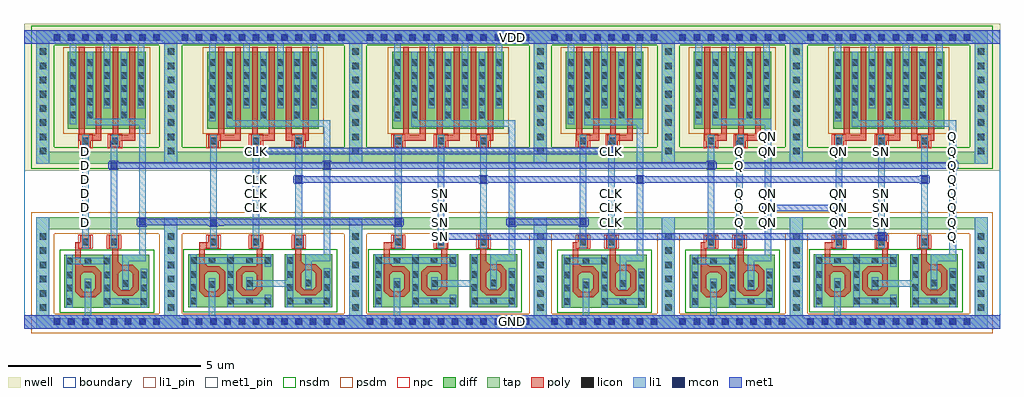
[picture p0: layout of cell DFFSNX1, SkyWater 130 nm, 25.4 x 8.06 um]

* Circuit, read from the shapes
.subckt DFFSNX1 CLK D GND Q QN SN VDD
XM1 n1 D GND GND sky130_fd_pr__nfet_01v8 w=2.6 l=0.146
XM2 n1 n2 n3 GND sky130_fd_pr__nfet_01v8 w=2.56 l=0.1472
XM3 n4 n3 GND GND sky130_fd_pr__nfet_01v8 w=2.6 l=0.1484
XM4 n4 CLK n5 GND sky130_fd_pr__nfet_01v8 w=2.52 l=0.1457
XM5 n5 n6 n2 GND sky130_fd_pr__nfet_01v8 w=2.56 l=0.1459
XM6 n7 n3 GND GND sky130_fd_pr__nfet_01v8 w=2.6 l=0.1489
XM7 n7 SN n8 GND sky130_fd_pr__nfet_01v8 w=2.52 l=0.1457
XM8 n8 n6 n9 GND sky130_fd_pr__nfet_01v8 w=2.56 l=0.1461
XM9 n10 n9 GND GND sky130_fd_pr__nfet_01v8 w=2.6 l=0.146
XM10 n10 CLK n6 GND sky130_fd_pr__nfet_01v8 w=2.56 l=0.1471
XM11 n11 n2 GND GND sky130_fd_pr__nfet_01v8 w=2.6 l=0.146
XM12 n11 Q QN GND sky130_fd_pr__nfet_01v8 w=2.56 l=0.1473
XM13 n12 QN GND GND sky130_fd_pr__nfet_01v8 w=2.6 l=0.1492
XM14 n12 SN n13 GND sky130_fd_pr__nfet_01v8 w=2.52 l=0.1455
XM15 n13 n6 Q GND sky130_fd_pr__nfet_01v8 w=2.56 l=0.1456
XM16 n3 D VDD VDD sky130_fd_pr__pfet_01v8 w=2 l=0.15 m=2
XM17 n3 n2 VDD VDD sky130_fd_pr__pfet_01v8 w=2 l=0.15 m=2
XM18 n2 n3 VDD VDD sky130_fd_pr__pfet_01v8 w=2 l=0.15 m=2
XM19 n2 CLK VDD VDD sky130_fd_pr__pfet_01v8 w=2 l=0.15 m=2
XM20 n2 n6 VDD VDD sky130_fd_pr__pfet_01v8 w=2 l=0.15 m=2
XM21 n9 n3 VDD VDD sky130_fd_pr__pfet_01v8 w=2 l=0.15 m=2
XM22 n9 SN VDD VDD sky130_fd_pr__pfet_01v8 w=2 l=0.15 m=2
XM23 n9 n6 VDD VDD sky130_fd_pr__pfet_01v8 w=2 l=0.15 m=2
XM24 n6 n9 VDD VDD sky130_fd_pr__pfet_01v8 w=2 l=0.15 m=2
XM25 n6 CLK VDD VDD sky130_fd_pr__pfet_01v8 w=2 l=0.15 m=2
XM26 QN n2 VDD VDD sky130_fd_pr__pfet_01v8 w=2 l=0.15 m=2
XM27 QN Q VDD VDD sky130_fd_pr__pfet_01v8 w=2 l=0.15 m=2
XM28 Q QN VDD VDD sky130_fd_pr__pfet_01v8 w=2 l=0.15 m=2
XM29 Q SN VDD VDD sky130_fd_pr__pfet_01v8 w=2 l=0.15 m=2
XM30 Q n6 VDD VDD sky130_fd_pr__pfet_01v8 w=2 l=0.15 m=2
.ends

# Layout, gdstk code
from math import pi, radians
import gdstk
lib = gdstk.Library(unit=1e-6, precision=1e-09)
def R(c, l, rs):  # rectangles x0, y0, x1, y1
    for r in rs: c.add(gdstk.rectangle(r[:2], r[2:], *l))
def A(c, l, x, y, w, h, nx, ny, dx, dy):  # array of equal rectangles
    R(c, l, [(x+i*dx, y+j*dy, x+i*dx+w, y+j*dy+h) for i in range(nx) for j in range(ny)])
def P(c, l, *ps):  # polygons
    for p in ps: c.add(gdstk.Polygon(p, *l))
nwell = (64, 20)
diff = (65, 20)
tap = (65, 44)
poly = (66, 20)
licon = (66, 44)
li1_pin = (67, 16)
li1 = (67, 20)
mcon = (67, 44)
met1_pin = (68, 16)
met1 = (68, 20)
nsdm = (93, 44)
psdm = (94, 20)
npc = (95, 20)
boundary = (235, 4)

li1_m1_contact = lib.new_cell('li1_M1_contact')
R(li1_m1_contact, li1, [(-0.085,-0.165,0.085,0.165)])
R(li1_m1_contact, mcon, [(-0.085,-0.085,0.085,0.085)])
R(li1_m1_contact, met1, [(-0.115,-0.115,0.115,-0.085), (-0.265,-0.085,0.145,0.085), (-0.115,0.085,0.115,0.115)])

diff_ring_side = lib.new_cell('diff_ring_side')
R(diff_ring_side, nwell, [(-0.435,3.93,0.435,7.75)])
R(diff_ring_side, tap, [(-0.17,-0.17,0.17,2.72), (-0.17,4.11,0.17,7.57)])
A(diff_ring_side, licon, -0.085, 0.285, 0.17, 0.17, 1, 6, 0, 0.37)
A(diff_ring_side, licon, -0.085, 4.355, 0.17, 0.17, 1, 8, 0, 0.37)
R(diff_ring_side, li1, [(-0.17,-0.17,0.17,2.72), (-0.17,4.11,0.17,7.57)])
R(diff_ring_side, met1, [(-0.17,-0.17,0.17,0.17), (-0.17,7.23,0.17,7.57)])
R(diff_ring_side, nsdm, [(-0.295,3.985,0.295,7.695)])
R(diff_ring_side, psdm, [(-0.295,-0.295,0.295,2.845)])

nmos_bottom = lib.new_cell('nmos_bottom')
R(nmos_bottom, diff, [(0,0,1.24,1.38)])
R(nmos_bottom, poly, [(0.43,0.27,0.81,0.42), (0.28,0.42,0.43,0.925), (0.81,0.42,0.96,0.925), (0.43,0.925,0.96,1.075), (0.81,1.075,0.96,1.51)])
P(nmos_bottom, poly, [(0.73,1.075),(0.81,1.075),(0.81,1.155)],
  [(0.28,0.925),(0.43,0.925),(0.43,1.075)],
  [(0.43,0.845),(0.43,0.925),(0.51,0.925)],
  [(0.73,0.925),(0.81,0.925),(0.81,0.845)],
  [(0.43,0.5),(0.43,0.42),(0.51,0.42)],
  [(0.73,0.42),(0.81,0.42),(0.81,0.5)],
  [(0.28,0.42),(0.43,0.42),(0.43,0.27)],
  [(0.81,0.27),(0.81,0.42),(0.96,0.42)])
A(nmos_bottom, licon, 0.05, 1.13, 0.17, 0.17, 3, 1, 0.485, 0)
R(nmos_bottom, licon, [(0.05,0.08,0.22,0.25), (1.02,0.08,1.19,0.25), (0.05,0.43,0.22,0.6), (1.02,0.43,1.19,0.6), (0.535,0.505,0.705,0.675), (0.05,0.77,0.22,0.94), (1.02,0.77,1.19,0.94)])
R(nmos_bottom, li1, [(0.05,0,0.22,1.13), (1.02,0,1.19,1.13), (0.535,0.425,0.705,0.755), (0.05,1.13,1.19,1.3), (0.05,1.3,0.22,1.38), (1.02,1.3,1.19,1.38)])
R(nmos_bottom, nsdm, [(-0.125,-0.125,1.365,1.505)])

pmos2 = lib.new_cell('pmos2')
R(pmos2, nwell, [(0.26,-2.18,1.76,0.18)])
R(pmos2, diff, [(0.44,-2,1.58,0)])
R(pmos2, poly, [(0.72,-2.305,1.31,-2.155), (0.72,-2.155,0.87,0.13), (1.16,-2.155,1.31,0.13)])
A(pmos2, licon, 0.49, -1.38, 0.17, 0.17, 3, 4, 0.44, 0.34)
R(pmos2, li1, [(0.49,-1.465,0.66,0.21), (0.93,-1.465,1.1,0), (1.37,-1.465,1.54,0.21)])
R(pmos2, psdm, [(0.315,-2.125,1.705,0.125)])

poly_li1_contact = lib.new_cell('poly_li1_contact')
R(poly_li1_contact, poly, [(-0.16,-0.14,0.17,0.13)])
R(poly_li1_contact, licon, [(-0.08,-0.09,0.09,0.08)])
R(poly_li1_contact, li1, [(-0.16,-0.09,0.17,0.08)])
R(poly_li1_contact, npc, [(-0.18,-0.19,0.19,0.18)])

nmos_top_trim1 = lib.new_cell('nmos_top_trim1')
R(nmos_top_trim1, diff, [(0,0,1.24,1.38)])
R(nmos_top_trim1, poly, [(0.43,0.31,0.81,0.46), (0.28,0.46,0.43,0.965), (0.81,0.46,0.96,0.965), (0.43,0.965,0.96,1.115), (0.81,1.115,0.96,1.545)])
P(nmos_top_trim1, poly, [(0.73,1.115),(0.81,1.115),(0.81,1.195)],
  [(0.28,0.965),(0.43,0.965),(0.43,1.115)],
  [(0.43,0.885),(0.43,0.965),(0.51,0.965)],
  [(0.73,0.965),(0.81,0.965),(0.81,0.885)],
  [(0.43,0.54),(0.43,0.46),(0.51,0.46)],
  [(0.73,0.46),(0.81,0.46),(0.81,0.54)],
  [(0.28,0.46),(0.43,0.46),(0.43,0.31)],
  [(0.81,0.31),(0.81,0.46),(0.96,0.46)])
A(nmos_top_trim1, licon, 0.05, 0.08, 0.17, 0.17, 3, 1, 0.485, 0)
R(nmos_top_trim1, licon, [(0.05,0.43,0.22,0.6), (1.02,0.43,1.19,0.6), (0.535,0.55,0.705,0.72), (0.05,0.77,0.22,0.94), (1.02,0.77,1.19,0.94), (1.02,1.13,1.19,1.3)])
R(nmos_top_trim1, li1, [(0.05,0,0.22,0.08), (1.02,0,1.19,0.08), (0.05,0.08,1.19,0.25), (0.05,0.25,0.22,1.02), (1.02,0.25,1.19,1.38), (0.535,0.47,0.705,0.805)])
R(nmos_top_trim1, nsdm, [(-0.125,-0.125,1.365,1.505)])

nand2x1_pcell = lib.new_cell('nand2x1_pcell')
R(nand2x1_pcell, nwell, [(0.435,3.93,2.895,7.75)])
R(nand2x1_pcell, diff, [(0.705,5.295,0.875,5.465), (1.145,5.295,1.315,5.465), (2.025,5.295,2.195,5.465)])
R(nand2x1_pcell, tap, [(0.17,-0.17,3.16,-0.15), (0.155,-0.15,3.175,0.085), (0.155,2.4,0.17,2.41), (3.16,2.4,3.175,2.41), (0.155,2.41,3.175,2.71), (0.17,2.71,3.16,2.72), (0.17,4.11,3.16,4.42), (0.17,7.315,3.16,7.57)])
R(nand2x1_pcell, poly, [(0.84,1.875,0.99,2.065), (1.81,1.91,1.96,1.915)])
A(nand2x1_pcell, licon, 0.285, -0.085, 0.17, 0.17, 8, 2, 0.37, 7.4)
R(nand2x1_pcell, licon, [(0.705,5.295,0.875,5.465), (1.145,5.295,1.315,5.465), (2.025,5.295,2.195,5.465)])
R(nand2x1_pcell, li1, [(0.17,-0.17,3.16,-0.15), (0.155,-0.15,3.175,0.16), (0.17,0.16,3.16,0.17), (1.095,0.17,1.265,0.835), (2.065,1.165,2.235,1.57), (2.065,1.57,2.675,1.74), (2.505,1.74,2.675,5.115), (1.025,2.165,1.195,4.54), (1.765,2.165,1.785,2.205), (1.765,2.205,1.935,4.54), (1.765,4.54,1.805,4.71), (1.145,5.115,2.675,5.285), (0.705,5.135,0.875,5.555), (1.145,5.285,1.315,5.555), (2.025,5.285,2.195,5.555), (0.17,7.23,3.16,7.57)])
A(nand2x1_pcell, mcon, 0.285, -0.085, 0.17, 0.17, 8, 2, 0.37, 7.4)
R(nand2x1_pcell, met1, [(0.17,-0.17,3.16,-0.15), (0.155,-0.15,3.175,0.16), (0.17,0.16,3.16,0.17), (0.17,7.23,3.16,7.57)])
R(nand2x1_pcell, nsdm, [(0.045,3.985,3.285,4.545), (0.045,7.19,3.285,7.695)])
R(nand2x1_pcell, psdm, [(0.045,-0.295,3.285,-0.275), (0.03,-0.275,3.3,0.21), (0.03,2.275,0.295,2.285), (3.035,2.275,3.3,2.285), (0.03,2.285,3.3,2.835), (0.045,2.835,3.285,2.845), (0.58,5.17,1.44,5.59), (1.9,5.17,2.32,5.59)])
nand2x1_pcell.add(gdstk.Reference(diff_ring_side, (0,0)))
nand2x1_pcell.add(gdstk.Reference(nmos_bottom, (1.8,0.365), rotation=pi, x_reflection=True))
nand2x1_pcell.add(gdstk.Reference(pmos2, (0.215,7.02)))
nand2x1_pcell.add(gdstk.Reference(poly_li1_contact, (1.115,4.705), rotation=3*pi/2))
nand2x1_pcell.add(gdstk.Reference(poly_li1_contact, (1.115,2.085), rotation=3*pi/2))
nand2x1_pcell.add(gdstk.Reference(nmos_top_trim1, (2.77,0.365), rotation=pi, x_reflection=True))
nand2x1_pcell.add(gdstk.Reference(pmos2, (1.095,7.02)))
nand2x1_pcell.add(gdstk.Reference(poly_li1_contact, (1.845,2.075), rotation=pi/2))
nand2x1_pcell.add(gdstk.Reference(poly_li1_contact, (1.885,4.705), rotation=3*pi/2))
nand2x1_pcell.add(gdstk.Reference(diff_ring_side, (3.33,0)))

nmos_side_left = lib.new_cell('nmos_side_left')
R(nmos_side_left, diff, [(0,0,1.24,1.38)])
R(nmos_side_left, poly, [(0.435,0.305,0.81,0.455), (0.285,0.455,0.435,0.925), (0.81,0.455,0.96,0.925), (0.435,0.925,0.96,1.075), (0.81,1.075,0.96,1.51)])
P(nmos_side_left, poly, [(0.285,0.925),(0.435,0.925),(0.435,1.075)],
  [(0.435,0.845),(0.435,0.925),(0.515,0.925)],
  [(0.73,0.925),(0.81,0.925),(0.81,0.845)],
  [(0.435,0.535),(0.435,0.455),(0.515,0.455)],
  [(0.73,0.455),(0.81,0.455),(0.81,0.535)],
  [(0.285,0.455),(0.435,0.455),(0.435,0.305)],
  [(0.81,0.305),(0.81,0.455),(0.96,0.455)])
A(nmos_side_left, licon, 0.05, 0.08, 0.17, 0.17, 3, 2, 0.485, 1.05)
R(nmos_side_left, licon, [(0.05,0.43,0.22,0.6), (0.54,0.535,0.71,0.705), (0.05,0.77,0.22,0.94)])
R(nmos_side_left, li1, [(0.05,0,0.22,0.08), (1.02,0,1.19,0.08), (0.05,0.08,1.19,0.25), (0.05,0.25,0.22,1.13), (1.02,0.25,1.19,0.33), (0.54,0.455,0.71,0.785), (1.02,1.05,1.19,1.13), (0.05,1.13,1.19,1.3), (0.05,1.3,0.22,1.38), (1.02,1.3,1.19,1.38)])
R(nmos_side_left, nsdm, [(-0.125,-0.125,1.365,1.505)])

nand3x1_pcell = lib.new_cell('nand3x1_pcell')
R(nand3x1_pcell, nwell, [(0.435,3.93,4.375,5.28), (0.435,5.28,1.1,5.295), (1.395,5.28,4.375,5.495), (0.435,5.295,1.025,5.465), (1.145,5.295,1.315,5.465), (0.435,5.465,1.1,5.495), (0.435,5.495,4.375,7.75)])
A(nand3x1_pcell, diff, 1.445, 5.295, 0.17, 0.17, 3, 1, 0.88, 0)
R(nand3x1_pcell, diff, [(1.005,5.295,1.175,5.465)])
R(nand3x1_pcell, tap, [(0.17,-0.17,4.64,0.085), (0.17,2.41,4.64,2.72), (0.17,4.11,4.64,4.42), (0.17,7.315,4.64,7.57)])
R(nand3x1_pcell, poly, [(0.735,1.885,0.885,1.915), (2.235,1.885,2.385,1.915), (0.735,1.915,0.975,2.065), (2.355,1.915,2.385,2.065)])
A(nand3x1_pcell, licon, 0.285, -0.085, 0.17, 0.17, 12, 2, 0.37, 7.4)
A(nand3x1_pcell, licon, 1.445, 5.295, 0.17, 0.17, 3, 1, 0.88, 0)
R(nand3x1_pcell, licon, [(1.005,5.295,1.175,5.465)])
A(nand3x1_pcell, li1, 1.445, 5.24, 0.17, 0.315, 3, 1, 0.88, 0)
R(nand3x1_pcell, li1, [(0.17,-0.17,4.64,0.17), (0.99,0.17,1.16,0.835), (1.965,0.91,3.015,1.08), (3.5,1.175,3.67,1.58), (3.5,1.58,4.155,1.75), (3.985,1.75,4.155,5.07), (1.025,2.165,1.195,4.54), (2.135,2.165,2.305,4.54), (3.245,2.245,3.415,4.7), (1.445,5.07,4.155,5.24), (1.005,5.215,1.175,5.58), (0.17,7.23,4.64,7.57)])
A(nand3x1_pcell, mcon, 0.285, -0.085, 0.17, 0.17, 12, 2, 0.37, 7.4)
R(nand3x1_pcell, met1, [(0.17,-0.17,4.64,0.17), (0.17,7.23,4.64,7.57)])
R(nand3x1_pcell, nsdm, [(2.79,0.25,2.84,1.88), (0.045,3.985,4.765,4.545), (0.045,7.19,4.765,7.695)])
R(nand3x1_pcell, psdm, [(0.045,-0.295,4.765,0.21), (0.045,2.285,4.765,2.845), (0.88,5.17,1.74,5.59), (2.2,5.17,2.62,5.59), (3.08,5.17,3.5,5.59)])
nand3x1_pcell.add(gdstk.Reference(diff_ring_side, (0,0)))
nand3x1_pcell.add(gdstk.Reference(nmos_bottom, (1.695,0.375), rotation=pi, x_reflection=True))
nand3x1_pcell.add(gdstk.Reference(pmos2, (0.515,7.02)))
nand3x1_pcell.add(gdstk.Reference(poly_li1_contact, (1.115,4.705), rotation=3*pi/2))
nand3x1_pcell.add(gdstk.Reference(poly_li1_contact, (1.105,2.075), rotation=pi/2))
nand3x1_pcell.add(gdstk.Reference(nmos_side_left, (1.425,0.375)))
nand3x1_pcell.add(gdstk.Reference(pmos2, (1.395,7.02)))
nand3x1_pcell.add(gdstk.Reference(pmos2, (2.275,7.02)))
nand3x1_pcell.add(gdstk.Reference(poly_li1_contact, (2.215,2.075), rotation=pi/2))
nand3x1_pcell.add(gdstk.Reference(poly_li1_contact, (2.215,4.695), rotation=pi/2))
nand3x1_pcell.add(gdstk.Reference(nmos_top_trim1, (4.205,0.375), rotation=pi, x_reflection=True))
nand3x1_pcell.add(gdstk.Reference(poly_li1_contact, (3.325,2.075), rotation=pi/2))
nand3x1_pcell.add(gdstk.Reference(poly_li1_contact, (3.335,4.705), rotation=3*pi/2))
nand3x1_pcell.add(gdstk.Reference(diff_ring_side, (4.81,0)))

dffsnx1_pcell = lib.new_cell('dffsnx1_pcell')
R(dffsnx1_pcell, met1, [(10.275,2.135,21.905,2.305), (2.685,2.505,9.11,2.675), (12.305,2.505,13.855,2.675), (6.755,3.615,23.02,3.785), (2.03,3.985,17.43,4.155), (5.465,4.355,14.76,4.525)])
dffsnx1_pcell.add(gdstk.Reference(li1_m1_contact, (1.85,4.07), rotation=pi))
dffsnx1_pcell.add(gdstk.Reference(li1_m1_contact, (2.59,2.59), rotation=pi))
dffsnx1_pcell.add(gdstk.Reference(li1_m1_contact, (4.44,2.585), rotation=pi))
dffsnx1_pcell.add(gdstk.Reference(nand2x1_pcell, (0,0)))
dffsnx1_pcell.add(gdstk.Reference(nand3x1_pcell, (3.33,0)))
dffsnx1_pcell.add(gdstk.Reference(li1_m1_contact, (6.66,3.7), rotation=pi))
dffsnx1_pcell.add(gdstk.Reference(li1_m1_contact, (5.55,4.44), rotation=pi))
dffsnx1_pcell.add(gdstk.Reference(li1_m1_contact, (10.36,2.22), rotation=pi))
dffsnx1_pcell.add(gdstk.Reference(li1_m1_contact, (9.25,2.59)))
dffsnx1_pcell.add(gdstk.Reference(li1_m1_contact, (7.395,4.07), rotation=pi))
dffsnx1_pcell.add(gdstk.Reference(nand3x1_pcell, (8.14,0)))
dffsnx1_pcell.add(gdstk.Reference(li1_m1_contact, (14.8,4.44)))
dffsnx1_pcell.add(gdstk.Reference(li1_m1_contact, (15.54,3.7)))
dffsnx1_pcell.add(gdstk.Reference(li1_m1_contact, (11.47,3.7)))
dffsnx1_pcell.add(gdstk.Reference(li1_m1_contact, (12.21,2.59), rotation=pi))
dffsnx1_pcell.add(gdstk.Reference(li1_m1_contact, (14.06,2.59)))
dffsnx1_pcell.add(gdstk.Reference(nand2x1_pcell, (12.95,0)))
dffsnx1_pcell.add(gdstk.Reference(nand2x1_pcell, (16.28,0)))
dffsnx1_pcell.add(gdstk.Reference(li1_m1_contact, (21.83,2.22)))
dffsnx1_pcell.add(gdstk.Reference(li1_m1_contact, (17.39,4.07)))
dffsnx1_pcell.add(gdstk.Reference(nand3x1_pcell, (19.61,0)))
dffsnx1_pcell.add(gdstk.Reference(li1_m1_contact, (22.94,3.7)))

dffsnx1 = lib.new_cell('DFFSNX1')
R(dffsnx1, nwell, [(0,4.11,25.4,7.94)])
R(dffsnx1, tap, [(0.32,0,25.08,0.035), (0.32,7.75,25.08,7.76)])
A(dffsnx1, li1_pin, 10.765, 2.315, 0.17, 0.17, 1, 4, 0, 0.37)
A(dffsnx1, li1_pin, 24.085, 2.315, 0.17, 0.17, 1, 8, 0, 0.37)
A(dffsnx1, li1_pin, 1.515, 2.685, 0.17, 0.17, 1, 6, 0, 0.37)
A(dffsnx1, li1_pin, 15.205, 2.685, 0.17, 0.17, 1, 3, 0, 0.37)
A(dffsnx1, li1_pin, 18.535, 2.685, 0.17, 0.17, 1, 3, 0, 0.37)
A(dffsnx1, li1_pin, 19.275, 2.685, 0.17, 0.17, 1, 3, 0, 0.37)
A(dffsnx1, li1_pin, 21.125, 2.685, 0.17, 0.17, 1, 3, 0, 0.37)
A(dffsnx1, li1_pin, 22.235, 2.685, 0.17, 0.17, 1, 3, 0, 0.37)
A(dffsnx1, li1_pin, 5.955, 3.055, 0.17, 0.17, 1, 3, 0, 0.37)
R(dffsnx1, li1_pin, [(18.535,4.165,18.705,4.335), (5.955,4.535,6.125,4.705), (15.205,4.535,15.375,4.705), (18.535,4.535,18.705,4.705), (19.275,4.535,19.445,4.705), (21.125,4.535,21.295,4.705), (22.235,4.535,22.405,4.705), (19.275,4.905,19.445,5.075)])
A(dffsnx1, li1, 10.765, 2.315, 0.17, 0.17, 1, 4, 0, 0.37)
A(dffsnx1, li1, 24.085, 2.315, 0.17, 0.17, 1, 8, 0, 0.37)
A(dffsnx1, li1, 1.515, 2.685, 0.17, 0.17, 1, 6, 0, 0.37)
A(dffsnx1, li1, 15.205, 2.685, 0.17, 0.17, 1, 3, 0, 0.37)
A(dffsnx1, li1, 18.535, 2.685, 0.17, 0.17, 1, 3, 0, 0.37)
A(dffsnx1, li1, 19.275, 2.685, 0.17, 0.17, 1, 3, 0, 0.37)
A(dffsnx1, li1, 21.125, 2.685, 0.17, 0.17, 1, 3, 0, 0.37)
A(dffsnx1, li1, 22.235, 2.685, 0.17, 0.17, 1, 3, 0, 0.37)
A(dffsnx1, li1, 5.955, 3.055, 0.17, 0.17, 1, 3, 0, 0.37)
R(dffsnx1, li1, [(0,0,25.4,0.085), (0,0.085,0.35,0.35), (24.995,0.085,25.4,0.35), (18.535,4.165,18.705,4.335), (5.955,4.535,6.125,4.705), (15.205,4.535,15.375,4.705), (18.535,4.535,18.705,4.705), (19.275,4.535,19.445,4.705), (21.125,4.535,21.295,4.705), (22.235,4.535,22.405,4.705), (19.275,4.905,19.445,5.075), (0,7.41,0.42,7.675), (25.08,7.41,25.4,7.675), (0,7.675,25.4,7.76)])
R(dffsnx1, met1_pin, [(0,0,25.4,0.35), (0,7.41,25.4,7.76)])
R(dffsnx1, met1, [(0,0,25.4,0.35), (19.455,3.055,20.995,3.225), (18.715,4.165,23.995,4.335), (0,7.41,25.4,7.76)])
R(dffsnx1, nsdm, [(0.195,7.625,25.205,7.885)])
R(dffsnx1, psdm, [(0.195,-0.125,25.205,0.16)])
R(dffsnx1, boundary, [(0,0,25.4,7.76)])
dffsnx1.add(gdstk.Reference(li1_m1_contact, (24.17,4.25)))
dffsnx1.add(gdstk.Reference(li1_m1_contact, (18.62,4.25), rotation=pi))
dffsnx1.add(gdstk.Reference(li1_m1_contact, (19.36,3.14), rotation=pi))
dffsnx1.add(gdstk.Reference(li1_m1_contact, (21.21,3.14)))
dffsnx1.add(gdstk.Reference(dffsnx1_pcell, (0.49,0.18)))
dffsnx1.add(gdstk.Label('Q', (18.62,2.77), layer=67, texttype=5))
dffsnx1.add(gdstk.Label('Q', (18.62,3.14), layer=67, texttype=5))
dffsnx1.add(gdstk.Label('Q', (18.62,3.51), layer=67, texttype=5))
dffsnx1.add(gdstk.Label('Q', (18.62,4.25), layer=67, texttype=5))
dffsnx1.add(gdstk.Label('Q', (18.62,4.62), layer=67, texttype=5))
dffsnx1.add(gdstk.Label('Q', (24.17,2.4), layer=67, texttype=5))
dffsnx1.add(gdstk.Label('Q', (24.17,2.77), layer=67, texttype=5))
dffsnx1.add(gdstk.Label('Q', (24.17,3.14), layer=67, texttype=5))
dffsnx1.add(gdstk.Label('Q', (24.17,4.99), layer=67, texttype=5))
dffsnx1.add(gdstk.Label('Q', (24.17,4.62), layer=67, texttype=5))
dffsnx1.add(gdstk.Label('Q', (24.17,4.25), layer=67, texttype=5))
dffsnx1.add(gdstk.Label('Q', (24.17,3.88), layer=67, texttype=5))
dffsnx1.add(gdstk.Label('Q', (24.17,3.51), layer=67, texttype=5))
dffsnx1.add(gdstk.Label('QN', (21.21,3.51), layer=67, texttype=5))
dffsnx1.add(gdstk.Label('QN', (19.36,3.51), layer=67, texttype=5))
dffsnx1.add(gdstk.Label('QN', (19.36,4.99), layer=67, texttype=5))
dffsnx1.add(gdstk.Label('QN', (19.36,4.62), layer=67, texttype=5))
dffsnx1.add(gdstk.Label('QN', (19.36,3.14), layer=67, texttype=5))
dffsnx1.add(gdstk.Label('QN', (19.36,2.77), layer=67, texttype=5))
dffsnx1.add(gdstk.Label('QN', (21.21,4.62), layer=67, texttype=5))
dffsnx1.add(gdstk.Label('QN', (21.21,2.77), layer=67, texttype=5))
dffsnx1.add(gdstk.Label('QN', (21.21,3.14), layer=67, texttype=5))
dffsnx1.add(gdstk.Label('D', (1.6,2.77), layer=67, texttype=5))
dffsnx1.add(gdstk.Label('D', (1.6,3.14), layer=67, texttype=5))
dffsnx1.add(gdstk.Label('D', (1.6,3.51), layer=67, texttype=5))
dffsnx1.add(gdstk.Label('D', (1.6,4.62), layer=67, texttype=5))
dffsnx1.add(gdstk.Label('D', (1.6,4.25), layer=67, texttype=5))
dffsnx1.add(gdstk.Label('D', (1.6,3.88), layer=67, texttype=5))
dffsnx1.add(gdstk.Label('CLK', (15.29,2.77), layer=67, texttype=5))
dffsnx1.add(gdstk.Label('CLK', (15.29,3.14), layer=67, texttype=5))
dffsnx1.add(gdstk.Label('CLK', (15.29,4.62), layer=67, texttype=5))
dffsnx1.add(gdstk.Label('CLK', (15.29,3.51), layer=67, texttype=5))
dffsnx1.add(gdstk.Label('CLK', (6.04,3.14), layer=67, texttype=5))
dffsnx1.add(gdstk.Label('CLK', (6.04,3.51), layer=67, texttype=5))
dffsnx1.add(gdstk.Label('CLK', (6.04,3.88), layer=67, texttype=5))
dffsnx1.add(gdstk.Label('CLK', (6.04,4.62), layer=67, texttype=5))
dffsnx1.add(gdstk.Label('SN', (22.32,3.51), layer=67, texttype=5))
dffsnx1.add(gdstk.Label('SN', (22.32,4.62), layer=67, texttype=5))
dffsnx1.add(gdstk.Label('SN', (22.32,3.14), layer=67, texttype=5))
dffsnx1.add(gdstk.Label('SN', (22.32,2.77), layer=67, texttype=5))
dffsnx1.add(gdstk.Label('SN', (10.85,3.51), layer=67, texttype=5))
dffsnx1.add(gdstk.Label('SN', (10.85,3.14), layer=67, texttype=5))
dffsnx1.add(gdstk.Label('SN', (10.85,2.77), layer=67, texttype=5))
dffsnx1.add(gdstk.Label('SN', (10.85,2.4), layer=67, texttype=5))
dffsnx1.add(gdstk.Label('VDD', (12.7,7.585), layer=68, texttype=5))
dffsnx1.add(gdstk.Label('GND', (12.7,0.175), layer=68, texttype=5))

lib.write_gds('DFFSNX1.gds')
